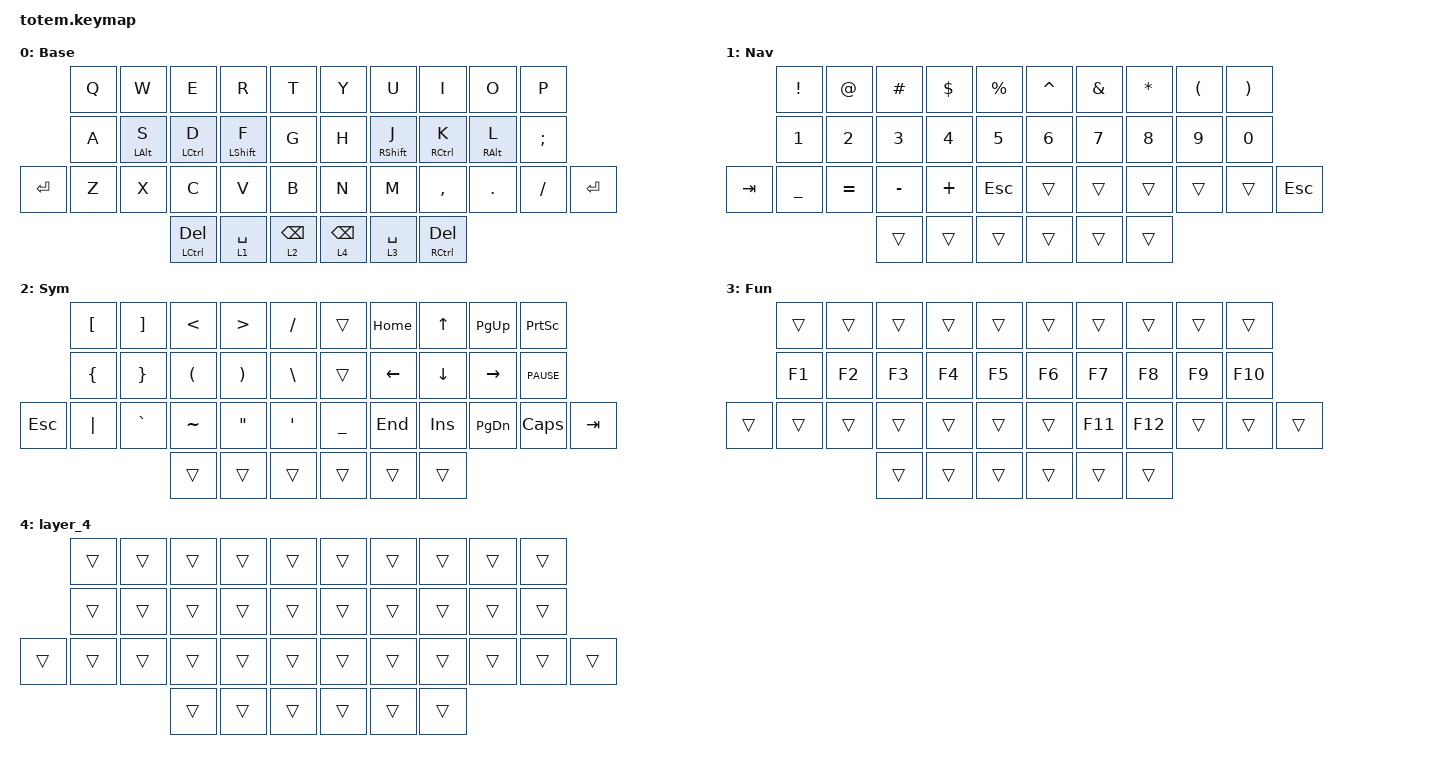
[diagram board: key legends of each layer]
//
//                                                        ▀▀▀▀▀     ▀▀▀▀▀          ▀▀█▀▀
//                                                        ▄▀▀▀▄  ▄  ▄▀▀▀▄  ▄  ▄▀▀▀▄  █  ▄▀▀▀▄
//                                                        █   █  █  █   █  █  █   █  █  █   █
//                                                         ▀▀▀   █   ▀▀▀   █   ▀▀▀   ▀   ▀▀▀
//                                                               █      ▄▄▄█▄▄▄    █   █  
//                                                               ▀      █  █  █     █▄█
//                                                             ▀▀▀▀▀    █  █  █      ▀
//                                                                      ▀  ▀  ▀
//
// ▄▄▄▄▄▄▄▄▄▄▄▄▄▄▄▄▄▄▄▄▄▄▄▄▄▄▄▄▄▄▄▄▄▄▄▄▄▄▄▄▄▄▄▄▄▄▄▄▄▄▄▄▄▄▄▄▄▄▄▄▄▄▄▄▄▄▄▄▄▄▄▄▄▄▄▄▄▄▄▄▄▄▄▄▄▄▄▄▄▄▄▄▄▄▄▄▄▄▄▄▄▄▄▄▄▄▄▄▄▄▄▄▄▄▄▄▄▄▄▄▄▄▄▄▄▄▄▄▄▄▄▄▄▄▄▄▄▄▄▄▄▄▄▄▄▄▄▄▄

#include <behaviors.dtsi>
#include <dt-bindings/zmk/keys.h>

#define Base        0
#define Media       1
#define Nav         2
#define Mouse       3
#define Sym         4
#define Num         5
#define Fun         6
#define Button      7
#define Game        8
#define Gameplus    9

&mt {
    quick-tap-ms = <100>;
    global-quick-tap;
    flavor = "tap-preferred";
    tapping-term-ms = <170>;
};

&lt {
    tapping-term-ms = <200>;
    flavor = "balanced";
    quick-tap-ms = <150>;
};

/ {
    behaviors {
        hm: homerow_mods {
            compatible = "zmk,behavior-hold-tap";
            label = "HOMEROW_MODS";
            #binding-cells = <2>;
            flavor = "tap-preferred";
            tapping-term-ms = <200>;
            quick-tap-ms = <125>;
            global-quick-tap;
            bindings = <&kp>, <&kp>;
        };
    };

    combos { compatible = "zmk,combos"; };

    keymap {
        compatible = "zmk,keymap";

        Base {
            label = "Base";
            bindings = <
           &kp Q  &kp W       &kp E                 &kp R         &kp T              &kp Y            &kp U        &kp I                  &kp O       &kp P
           &kp A  &hm LALT S  &hm LCTRL D           &hm LSHIFT F  &kp G              &kp H            &hm RSHFT J  &hm RCTRL K            &hm RALT L  &kp SEMICOLON
&kp ENTER  &kp Z  &kp X       &kp C                 &kp V         &kp B              &kp N            &kp M        &kp COMMA              &kp DOT     &kp SLASH      &kp ENTER
                              &mt LEFT_CONTROL DEL  &lt 1 SPACE   &lt 2 BACKSPACE    &lt 4 BACKSPACE  &lt 3 SPACE  &mt RIGHT_CONTROL DEL
            >;
        };

        Lower {
            label = "Nav";
            bindings = <
         &kp EXCLAMATION  &kp AT_SIGN  &kp HASH   &kp DOLLAR  &kp PERCENT    &kp CARET  &kp AMPERSAND  &kp ASTERISK  &kp LEFT_PARENTHESIS  &kp RIGHT_PARENTHESIS
         &kp N1           &kp N2       &kp N3     &kp N4      &kp N5         &kp N6     &kp N7         &kp N8        &kp N9                &kp N0
&kp TAB  &kp UNDERSCORE   &kp EQUAL    &kp MINUS  &kp PLUS    &kp ESC        &trans     &trans         &trans        &trans                &trans                 &kp ESC
                                       &trans     &trans      &trans         &trans     &trans         &trans
            >;
        };

        Raise {
            label = "Sym";
            bindings = <
         &kp LEFT_BRACKET  &kp RIGHT_BRACKET  &kp LESS_THAN         &kp GREATER_THAN       &kp SLASH        &trans     &kp HOME  &kp UP    &kp PAGE_UP    &kp PRINTSCREEN
         &kp LEFT_BRACE    &kp RIGHT_BRACE    &kp LEFT_PARENTHESIS  &kp RIGHT_PARENTHESIS  &kp BACKSLASH    &trans     &kp LEFT  &kp DOWN  &kp RIGHT      &kp C_PAUSE
&kp ESC  &kp PIPE          &kp GRAVE          &kp TILDE             &kp DOUBLE_QUOTES      &kp SQT          &kp UNDER  &kp END   &kp INS   &kp PAGE_DOWN  &kp CLCK         &kp TAB
                                              &trans                &trans                 &trans           &trans     &trans    &trans
            >;
        };

        Fun {
            label = "Fun";
            bindings = <
        &trans  &trans  &trans  &trans  &trans    &trans  &trans   &trans   &trans  &trans
        &kp F1  &kp F2  &kp F3  &kp F4  &kp F5    &kp F6  &kp F7   &kp F8   &kp F9  &kp F10
&trans  &trans  &trans  &trans  &trans  &trans    &trans  &kp F11  &kp F12  &trans  &trans   &trans
                        &trans  &trans  &trans    &trans  &trans   &trans
            >;
        };

        layer_4 {
            bindings = <
        &trans  &trans  &trans  &trans  &trans    &trans  &trans  &trans  &trans  &trans
        &trans  &trans  &trans  &trans  &trans    &trans  &trans  &trans  &trans  &trans
&trans  &trans  &trans  &trans  &trans  &trans    &trans  &trans  &trans  &trans  &trans  &trans
                        &trans  &trans  &trans    &trans  &trans  &trans
            >;
        };
    };
};
